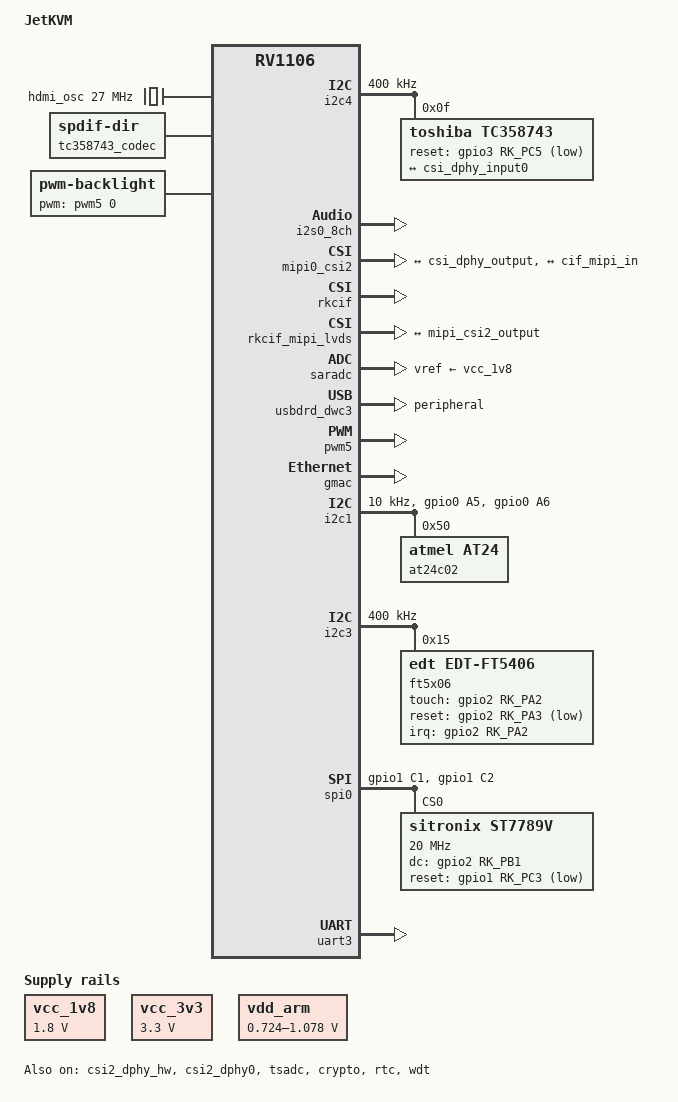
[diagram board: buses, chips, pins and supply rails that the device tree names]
// SPDX-License-Identifier: (GPL-2.0+ OR MIT)
/*
 * Copyright (c) 2024 BuildJet, Inc.
 * Copyright (c) 2022 Rockchip Electronics Co., Ltd.
 */
#include "rv1106-amp.dtsi"

/ {
	chosen {
		bootargs = "earlycon=uart8250,mmio32,0xff4c0000 console=ttyFIQ0 rootwait snd_soc_core.prealloc_buffer_size_kbytes=16 coherent_pool=0";
	};

	vcc_1v8: vcc-1v8 {
		compatible = "regulator-fixed";
		regulator-name = "vcc_1v8";
		regulator-always-on;
		regulator-boot-on;
		regulator-min-microvolt = <1800000>;
		regulator-max-microvolt = <1800000>;
	};

	vcc_3v3: vcc-3v3 {
		compatible = "regulator-fixed";
		regulator-name = "vcc_3v3";
		regulator-always-on;
		regulator-boot-on;
		regulator-min-microvolt = <3300000>;
		regulator-max-microvolt = <3300000>;
	};

	vdd_arm: vdd-arm {
		compatible = "pwm-regulator";
		pwms = <&pwm0 0 5000 1>;
		regulator-name = "vdd_arm";
		regulator-min-microvolt = <724000>;
		regulator-max-microvolt = <1078000>;
		regulator-init-microvolt = <950000>;
		regulator-always-on;
		regulator-boot-on;
		regulator-settling-time-up-us = <250>;
	};

	hdmi_osc: hdmi-osc {
		compatible = "fixed-clock";
		clock-output-names = "hdmi-osc";
		clock-frequency = <27000000>;
		#clock-cells = <0>;
	};

	tc358743_codec: tc358743-codec {
		#sound-dai-cells = <0>;
		compatible = "linux,spdif-dir";
		status = "okay";
	};

	i2s_hdmi_sound: i2s-hdmi-sound {
		compatible = "simple-audio-card";
		simple-audio-card,format = "i2s";
		simple-audio-card,name = "tc358743";
		simple-audio-card,bitclock-master = <&hdmi_codec_dai>;
		simple-audio-card,frame-master = <&hdmi_codec_dai>;
		status = "okay";
		pinctrl-names = "default";
		pinctrl-0 = <&i2s0_pins_hdmi_rx>;

		simple-audio-card,cpu {
			sound-dai = <&i2s0_8ch>;
		};

		hdmi_codec_dai: simple-audio-card,codec {
			sound-dai = <&tc358743_codec>;
		};
	};
};

&cpu0 {
	cpu-supply = <&vdd_arm>;
};

&csi2_dphy_hw {
	status = "okay";
};

&csi2_dphy0 {
	status = "okay";

	ports {
		#address-cells = <1>;
		#size-cells = <0>;

		port@0 {
			reg = <0>;
			#address-cells = <1>;
			#size-cells = <0>;

			csi_dphy_input0: endpoint@0 {
				reg = <0>;
				remote-endpoint = <&hdmiin_out0>;
				data-lanes = <1 2 3 4>;
			};

		};

		port@1 {
			reg = <1>;
			#address-cells = <1>;
			#size-cells = <0>;

			csi_dphy_output: endpoint@0 {
				reg = <0>;
				remote-endpoint = <&mipi_csi2_input>;
			};
		};
	};
};

&i2c4 {
	status = "okay";
	clock-frequency = <400000>;
	pinctrl-names = "default";
	pinctrl-0 = <&i2c4m2_xfer>;

	tc358743: tc358743@0f {
		compatible = "toshiba,tc358743";
		status = "okay";
		reg = <0x0f>;
		clocks = <&hdmi_osc>;
		clock-names = "refclk";
		reset-gpios = <&gpio3 RK_PC5 GPIO_ACTIVE_LOW>;
		rockchip,camera-module-index = <0>;
		rockchip,camera-module-facing = "back";
		rockchip,camera-module-name = "TC358743XBG";
		rockchip,camera-module-lens-name = "NC";
		port {
			hdmiin_out0: endpoint {
				remote-endpoint = <&csi_dphy_input0>;
				data-lanes = <1 2 3 4>;
				clock-noncontinuous;
				link-frequencies = /bits/ 64 <297000000>;
			};
		};
	};

};

&i2s0_8ch {
	#sound-dai-cells = <0>;
	status = "okay";
};

&mipi0_csi2 {
	status = "okay";

	ports {
		#address-cells = <1>;
		#size-cells = <0>;

		port@0 {
			reg = <0>;
			#address-cells = <1>;
			#size-cells = <0>;

			mipi_csi2_input: endpoint@1 {
				reg = <1>;
				remote-endpoint = <&csi_dphy_output>;
			};
		};

		port@1 {
			reg = <1>;
			#address-cells = <1>;
			#size-cells = <0>;

			mipi_csi2_output: endpoint@0 {
				reg = <0>;
				remote-endpoint = <&cif_mipi_in>;
			};
		};
	};
};

&rkcif {
	status = "okay";
};

&rkcif_mipi_lvds {
	status = "okay";

	pinctrl-names = "default";
	pinctrl-0 = <&mipi_pins>;
	port {
		/* MIPI CSI-2 endpoint */
		cif_mipi_in: endpoint {
			remote-endpoint = <&mipi_csi2_output>;
		};
	};
};

&saradc {
	status = "okay";
	vref-supply = <&vcc_1v8>;
};


&tsadc {
	status = "okay";
};

&usbdrd_dwc3 {
	/* Required for UAC1 + UVC gadget coexistence */
	tx-fifo-resize;
	status = "okay";
	dr_mode = "peripheral";
};

&crypto {
    status = "okay";
};

&pinctrl {
	i2s0 {
		i2s0_pins_hdmi_rx: i2s0-pins-hdmi-rx {
			rockchip,pins =
				/* i2s0_sclk */
				<2 RK_PA0 2 &pcfg_pull_none>,
				/* i2s0_lrck */
				<2 RK_PA1 2 &pcfg_pull_none>,
				/* i2s0_sdi0 */
				<2 RK_PA5 2 &pcfg_pull_none>;
		};
	};

	spi0 {
		/omit-if-no-ref/
		spi0m0_pins: spi0m0-pins {
			rockchip,pins =
				/* spi0_clk_m0 */
				<1 RK_PC1 4 &pcfg_pull_none>,
				/* spi_mosi_m0 */
				<1 RK_PC2 6 &pcfg_pull_none>;
		};
	};

	i2c1 {
		i2c1m0_xfer_scl_pull_up: i2c1m0_xfer_scl_pull_up {
			rockchip,pins =
				/* i2c1_scl_m0 */
				<0 RK_PA5 1 &pcfg_pull_up>,
				/* i2c1_sda_m0 */
				<0 RK_PA6 1 &pcfg_pull_none_smt>;
		};
	};
};

/ {
	model = "JetKVM";
	compatible = "rockchip,rv1103g-38x38-ipc-v10", "rockchip,rv1106";

	backlight: backlight {
		status = "okay";
		compatible = "pwm-backlight";
		pwms = <&pwm5 0 25000 0>;
		brightness-levels = <
			0   1   2   3   4   5   6   7
			8   9  10  11  12  13  14  15
			16  17  18  19  20  21  22  23
			24  25  26  27  28  29  30  31
			32  33  34  35  36  37  38  39
			40  41  42  43  44  45  46  47
			48  49  50  51  52  53  54  55
			56  57  58  59  60  61  62  63
			64  65  66  67  68  69  70  71
			72  73  74  75  76  77  78  79
			80  81  82  83  84  85  86  87
			88  89  90  91  92  93  94  95
			96  97  98  99 100 101 102 103
			104 105 106 107 108 109 110 111
			112 113 114 115 116 117 118 119
			120 121 122 123 124 125 126 127
			128 129 130 131 132 133 134 135
			136 137 138 139 140 141 142 143
			144 145 146 147 148 149 150 151
			152 153 154 155 156 157 158 159
			160 161 162 163 164 165 166 167
			168 169 170 171 172 173 174 175
			176 177 178 179 180 181 182 183
			184 185 186 187 188 189 190 191
			192 193 194 195 196 197 198 199
			200 201 202 203 204 205 206 207
			208 209 210 211 212 213 214 215
			216 217 218 219 220 221 222 223
			224 225 226 227 228 229 230 231
			232 233 234 235 236 237 238 239
			240 241 242 243 244 245 246 247
			248 249 250 251 252 253 254 255>;
		default-brightness-level = <64>;
	};
};

&pwm5 {
	status = "okay";
	pinctrl-names = "active";
	pinctrl-0 = <&pwm5m1_pins>;
};

/**********FLASH**********/
&sfc {
	status = "disabled";
};

/**********ETH**********/
&gmac {
	status = "okay";
};

&gpio0 {
	status = "disabled";
};

/**********I2C**********/
&i2c1 {
	status = "okay";
	pinctrl-0 = <&i2c1m0_xfer_scl_pull_up>;
	pinctrl-names = "default";
	clock-frequency = <10000>;
	at24c02: at24c02@50 {
		status = "okay";
		compatible = "atmel,at24";
		reg = <0x50>;
		pagesize = <16>;
		address-width = <8>;
	};
};

&i2c3 {
	status = "okay";
	pinctrl-0 = <&i2c3m0_xfer>;
	pinctrl-names = "default";
	clock-frequency = <400000>;

	ft5x06: ft5x06@38 {
		status = "okay";
		compatible = "edt,edt-ft5406";
		reg = <0x15>;
		touch-gpio = <&gpio2 RK_PA2 IRQ_TYPE_EDGE_RISING>;
		interrupt-parent = <&gpio2>;
		interrupts = <RK_PA2 IRQ_TYPE_LEVEL_LOW>;
		reset-gpios = <&gpio2 RK_PA3 GPIO_ACTIVE_LOW>;
		touchscreen-size-x = <240>;
		touchscreen-size-y = <300>;
		threshold = <40>;
		touch_type = <1>;
	};
};

/**********SPI**********/
&spi0 {
	status = "okay";
	pinctrl-names = "default";
	pinctrl-0 = <&spi0m0_cs0 &spi0m0_pins>;

	st7789v@0 {
		status = "okay";
		compatible = "sitronix,st7789v";
		reg = <0>;
		spi-max-frequency = <20000000>;
		fps = <30>;
		buswidth = <8>;
		dc = <&gpio2 RK_PB1 GPIO_ACTIVE_HIGH>;
		dc-gpios = <&gpio2 RK_PB1 GPIO_ACTIVE_HIGH>;
		reset = <&gpio1 RK_PC3 GPIO_ACTIVE_LOW>;
		reset-gpios = <&gpio1 RK_PC3 GPIO_ACTIVE_LOW>;
	};
};

/**********UART**********/
&uart3 {
	status = "okay";
	pinctrl-names = "default";
	pinctrl-0 = <&uart3m0_xfer>;
};

&rtc {
	status = "okay";
};

&wdt {
	status = "okay";
};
